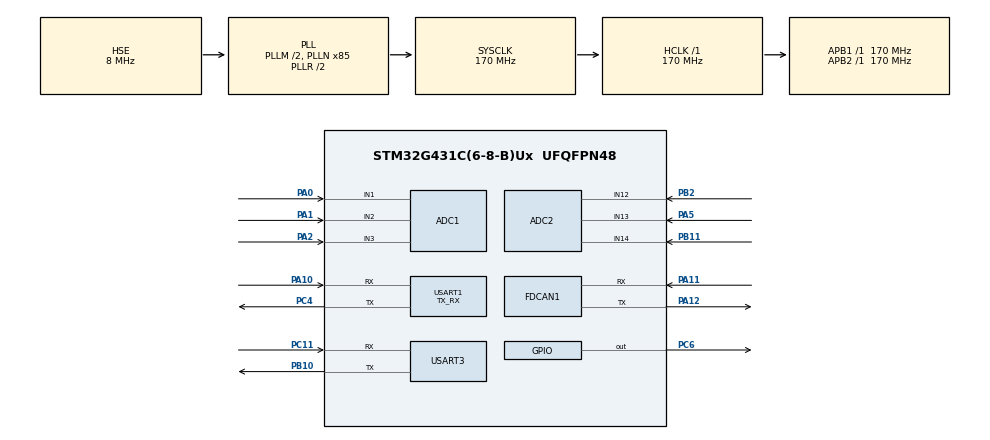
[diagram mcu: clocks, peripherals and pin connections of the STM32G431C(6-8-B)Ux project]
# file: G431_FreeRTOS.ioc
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ADC1.Channel-0\#ChannelRegularConversion=ADC_CHANNEL_1
ADC1.Channel-1\#ChannelRegularConversion=ADC_CHANNEL_2
ADC1.Channel-2\#ChannelRegularConversion=ADC_CHANNEL_3
ADC1.ContinuousConvMode=ENABLE
ADC1.DMAContinuousRequests=ENABLE
ADC1.EOCSelection=ADC_EOC_SINGLE_CONV
ADC1.NbrOfConversion=3
ADC1.NbrOfConversionFlag=1
ADC1.OffsetNumber-0\#ChannelRegularConversion=ADC_OFFSET_NONE
ADC1.OffsetNumber-1\#ChannelRegularConversion=ADC_OFFSET_NONE
ADC1.OffsetNumber-2\#ChannelRegularConversion=ADC_OFFSET_NONE
ADC1.Rank-0\#ChannelRegularConversion=1
ADC1.Rank-1\#ChannelRegularConversion=2
ADC1.Rank-2\#ChannelRegularConversion=3
ADC1.SamplingTime-0\#ChannelRegularConversion=ADC_SAMPLETIME_24CYCLES_5
ADC1.SamplingTime-1\#ChannelRegularConversion=ADC_SAMPLETIME_24CYCLES_5
ADC1.SamplingTime-2\#ChannelRegularConversion=ADC_SAMPLETIME_24CYCLES_5
ADC1.master=1
ADC2.Channel-0\#ChannelRegularConversion=ADC_CHANNEL_12
ADC2.Channel-1\#ChannelRegularConversion=ADC_CHANNEL_13
ADC2.Channel-2\#ChannelRegularConversion=ADC_CHANNEL_14
ADC2.ContinuousConvMode=ENABLE
ADC2.DMAContinuousRequests=ENABLE
ADC2.NbrOfConversion=3
ADC2.NbrOfConversionFlag=1
ADC2.OffsetNumber-0\#ChannelRegularConversion=ADC_OFFSET_NONE
ADC2.OffsetNumber-1\#ChannelRegularConversion=ADC_OFFSET_NONE
ADC2.OffsetNumber-2\#ChannelRegularConversion=ADC_OFFSET_NONE
ADC2.Rank-0\#ChannelRegularConversion=1
ADC2.Rank-1\#ChannelRegularConversion=2
ADC2.Rank-2\#ChannelRegularConversion=3
ADC2.SamplingTime-0\#ChannelRegularConversion=ADC_SAMPLETIME_24CYCLES_5
ADC2.SamplingTime-1\#ChannelRegularConversion=ADC_SAMPLETIME_24CYCLES_5
ADC2.SamplingTime-2\#ChannelRegularConversion=ADC_SAMPLETIME_24CYCLES_5
Dma.ADC1.0.Direction=DMA_PERIPH_TO_MEMORY
Dma.ADC1.0.EventEnable=DISABLE
Dma.ADC1.0.Instance=DMA1_Channel1
Dma.ADC1.0.MemDataAlignment=DMA_MDATAALIGN_HALFWORD
Dma.ADC1.0.MemInc=DMA_MINC_ENABLE
Dma.ADC1.0.Mode=DMA_CIRCULAR
Dma.ADC1.0.PeriphDataAlignment=DMA_PDATAALIGN_HALFWORD
Dma.ADC1.0.PeriphInc=DMA_PINC_DISABLE
Dma.ADC1.0.Polarity=HAL_DMAMUX_REQ_GEN_RISING
Dma.ADC1.0.Priority=DMA_PRIORITY_LOW
Dma.ADC1.0.RequestNumber=1
Dma.ADC1.0.SignalID=NONE
Dma.ADC1.0.SyncEnable=DISABLE
Dma.ADC1.0.SyncPolarity=HAL_DMAMUX_SYNC_NO_EVENT
Dma.ADC1.0.SyncRequestNumber=1
Dma.ADC1.0.SyncSignalID=NONE
Dma.ADC2.1.Direction=DMA_PERIPH_TO_MEMORY
Dma.ADC2.1.EventEnable=DISABLE
Dma.ADC2.1.Instance=DMA1_Channel2
Dma.ADC2.1.MemDataAlignment=DMA_MDATAALIGN_HALFWORD
Dma.ADC2.1.MemInc=DMA_MINC_ENABLE
Dma.ADC2.1.Mode=DMA_CIRCULAR
Dma.ADC2.1.PeriphDataAlignment=DMA_PDATAALIGN_HALFWORD
Dma.ADC2.1.PeriphInc=DMA_PINC_DISABLE
Dma.ADC2.1.Polarity=HAL_DMAMUX_REQ_GEN_RISING
Dma.ADC2.1.Priority=DMA_PRIORITY_LOW
Dma.ADC2.1.RequestNumber=1
Dma.ADC2.1.SignalID=NONE
Dma.ADC2.1.SyncEnable=DISABLE
Dma.ADC2.1.SyncPolarity=HAL_DMAMUX_SYNC_NO_EVENT
Dma.ADC2.1.SyncRequestNumber=1
Dma.ADC2.1.SyncSignalID=NONE
Dma.Request0=ADC1
Dma.Request1=ADC2
FDCAN1.CalculateBaudRateNominal=1000000
FDCAN1.CalculateTimeBitNominal=1000
FDCAN1.CalculateTimeQuantumNominal=125.0
FDCAN1.DataSyncJumpWidth=1
FDCAN1.DataTimeSeg1=8
FDCAN1.DataTimeSeg2=3
FDCAN1.NominalPrescaler=1
FDCAN1.NominalSyncJumpWidth=1
FDCAN1.NominalTimeSeg1=6
FDCAN1.NominalTimeSeg2=1
FREERTOS.Tasks01=BlueLED_Task,12,128,Start_BlueLED_Task,Default,NULL,Dynamic,NULL,NULL;Serial_Task,28,256,Start_Serial_Task,Default,NULL,Dynamic,NULL,NULL;MotorCTRL_Task,29,256,StartMotorCTRL_Task,Default,NULL,Dynamic,NULL,NULL
FREERTOS.configTOTAL_HEAP_SIZE=4064
Mcu.Family=STM32G4
Mcu.Name=STM32G431C(6-8-B)Ux
Mcu.Package=UFQFPN48
NVIC.DMA1_Channel1_IRQn=true\:5\:0\:false\:false\:true\:false\:false\:true\:true
NVIC.DMA1_Channel2_IRQn=true\:5\:0\:false\:false\:true\:false\:false\:true\:true
NVIC.FDCAN1_IT0_IRQn=true\:5\:0\:false\:false\:true\:true\:true\:true\:true
NVIC.PriorityGroup=NVIC_PRIORITYGROUP_4
NVIC.USART3_IRQn=true\:5\:0\:false\:false\:true\:true\:true\:true\:true
PA0.Mode=IN1-Single-Ended
PA0.Signal=ADC1_IN1
PA1.Mode=IN2-Single-Ended
PA1.Signal=ADC1_IN2
PA10.Mode=Asynchronous
PA10.Signal=USART1_RX
PA11.Mode=FDCAN_Activate
PA11.Signal=FDCAN1_RX
PA12.Mode=FDCAN_Activate
PA12.Signal=FDCAN1_TX
PA13.Mode=Serial_Wire
PA13.Signal=SYS_JTMS-SWDIO
PA14.Mode=Serial_Wire
PA14.Signal=SYS_JTCK-SWCLK
PA2.Mode=IN3-Single-Ended
PA2.Signal=ADC1_IN3
PA5.Mode=IN13-Single-Ended
PA5.Signal=ADC2_IN13
PB10.Mode=Asynchronous
PB10.Signal=USART3_TX
PB11.Mode=IN14-Single-Ended
PB11.Signal=ADC2_IN14
PB2.Mode=IN12-Single-Ended
PB2.Signal=ADC2_IN12
PC11.Mode=Asynchronous
PC11.Signal=USART3_RX
PC14-OSC32_IN.Mode=LSE-External-Oscillator
PC14-OSC32_IN.Signal=RCC_OSC32_IN
PC15-OSC32_OUT.Mode=LSE-External-Oscillator
PC15-OSC32_OUT.Signal=RCC_OSC32_OUT
PC4.Mode=Asynchronous
PC4.Signal=USART1_TX
PC6.GPIO_PuPd=GPIO_PULLDOWN
PC6.PinState=GPIO_PIN_SET
PC6.Signal=GPIO_Output
PF0-OSC_IN.Mode=HSE-External-Oscillator
PF0-OSC_IN.Signal=RCC_OSC_IN
PF1-OSC_OUT.Mode=HSE-External-Oscillator
PF1-OSC_OUT.Signal=RCC_OSC_OUT
ProjectManager.HeapSize=0x200
ProjectManager.StackSize=0x400
ProjectManager.TargetToolchain=MDK-ARM V5.32
RCC.ADC12Freq_Value=170000000
RCC.AHBFreq_Value=170000000
RCC.APB1Freq_Value=170000000
RCC.APB1TimFreq_Value=170000000
RCC.APB2Freq_Value=170000000
RCC.APB2TimFreq_Value=170000000
RCC.CortexFreq_Value=170000000
RCC.EXTERNAL_CLOCK_VALUE=12288000
RCC.FDCANCLockSelection=RCC_FDCANCLKSOURCE_HSE
RCC.HCLKFreq_Value=170000000
RCC.HSE_VALUE=8000000
RCC.HSI48_VALUE=48000000
RCC.HSI_VALUE=16000000
RCC.PLLM=RCC_PLLM_DIV2
RCC.PLLN=85
RCC.PLLSourceVirtual=RCC_PLLSOURCE_HSE
RCC.SYSCLKFreq_VALUE=170000000
RCC.SYSCLKSource=RCC_SYSCLKSOURCE_PLLCLK
RCC.USBFreq_Value=170000000
RCC.VCOOutputFreq_Value=340000000
USART1.Mode=MODE_TX_RX
USART1.VirtualMode-Asynchronous=VM_ASYNC
USART3.VirtualMode-Asynchronous=VM_ASYNC
VP_FREERTOS_VS_CMSIS_V2.Mode=CMSIS_V2
VP_SYS_VS_DBSignals.Mode=DisableDeadBatterySignals
board=custom

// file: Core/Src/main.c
/* USER CODE BEGIN Header */
/**
  ******************************************************************************
  * @file           : main.c
  * @brief          : Main program body
  ******************************************************************************
  * @attention
  *
  * Copyright (c) 2025 STMicroelectronics.
  * All rights reserved.
  *
  * This software is licensed under terms that can be found in the LICENSE file
  * in the root directory of this software component.
  * If no LICENSE file comes with this software, it is provided AS-IS.
  *
  ******************************************************************************
  */
/* USER CODE END Header */
#include "main.h"
#include "cmsis_os.h"
#include "adc.h"
#include "dma.h"
#include "fdcan.h"
#include "usart.h"
#include "gpio.h"

/* USER CODE BEGIN Includes */
#include "stdio.h"

/* USER CODE END Includes */

void SystemClock_Config(void);
void MX_FREERTOS_Init(void);

/* USER CODE BEGIN 0 */
int fputc(int c,FILE *f)
{
    uint8_t ch;
    ch = c;
    HAL_UART_Transmit(&huart1,&ch,1,1000);

    return c;
}

/* USER CODE END 0 */

int main(void)
{

  /* MCU Configuration--------------------------------------------------------*/

  /* Reset of all peripherals, Initializes the Flash interface and the Systick. */
  HAL_Init();

  /* Configure the system clock */
  SystemClock_Config();

  /* Initialize all configured peripherals */
  MX_GPIO_Init();
  MX_DMA_Init();
  MX_USART1_UART_Init();
  MX_ADC1_Init();
  MX_ADC2_Init();
  MX_FDCAN1_Init();
  MX_USART3_UART_Init();
  /* USER CODE BEGIN 2 */
	printf("BEGIN\r\n");
  /* USER CODE END 2 */

  /* Init scheduler */
  osKernelInitialize();

  /* Call init function for freertos objects (in cmsis_os2.c) */
  MX_FREERTOS_Init();

  /* Start scheduler */
  osKernelStart();

  /* We should never get here as control is now taken by the scheduler */

  /* Infinite loop */
  while (1)
  {

  }
}

void SystemClock_Config(void)
{
  RCC_OscInitTypeDef RCC_OscInitStruct = {0};
  RCC_ClkInitTypeDef RCC_ClkInitStruct = {0};

  /** Configure the main internal regulator output voltage
  */
  HAL_PWREx_ControlVoltageScaling(PWR_REGULATOR_VOLTAGE_SCALE1_BOOST);

  /** Initializes the RCC Oscillators according to the specified parameters
  * in the RCC_OscInitTypeDef structure.
  */
  RCC_OscInitStruct.OscillatorType = RCC_OSCILLATORTYPE_HSE;
  RCC_OscInitStruct.HSEState = RCC_HSE_ON;
  RCC_OscInitStruct.PLL.PLLState = RCC_PLL_ON;
  RCC_OscInitStruct.PLL.PLLSource = RCC_PLLSOURCE_HSE;
  RCC_OscInitStruct.PLL.PLLM = RCC_PLLM_DIV2;
  RCC_OscInitStruct.PLL.PLLN = 85;
  RCC_OscInitStruct.PLL.PLLP = RCC_PLLP_DIV2;
  RCC_OscInitStruct.PLL.PLLQ = RCC_PLLQ_DIV2;
  RCC_OscInitStruct.PLL.PLLR = RCC_PLLR_DIV2;
  if (HAL_RCC_OscConfig(&RCC_OscInitStruct) != HAL_OK)
  {
    Error_Handler();
  }

  /** Initializes the CPU, AHB and APB buses clocks
  */
  RCC_ClkInitStruct.ClockType = RCC_CLOCKTYPE_HCLK|RCC_CLOCKTYPE_SYSCLK
                              |RCC_CLOCKTYPE_PCLK1|RCC_CLOCKTYPE_PCLK2;
  RCC_ClkInitStruct.SYSCLKSource = RCC_SYSCLKSOURCE_PLLCLK;
  RCC_ClkInitStruct.AHBCLKDivider = RCC_SYSCLK_DIV1;
  RCC_ClkInitStruct.APB1CLKDivider = RCC_HCLK_DIV1;
  RCC_ClkInitStruct.APB2CLKDivider = RCC_HCLK_DIV1;

  if (HAL_RCC_ClockConfig(&RCC_ClkInitStruct, FLASH_LATENCY_4) != HAL_OK)
  {
    Error_Handler();
  }
}

void Error_Handler(void)
{
  __disable_irq();
  while (1)
  {
  }
}

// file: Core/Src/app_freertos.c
/* USER CODE BEGIN Header */
/**
  ******************************************************************************
  * File Name          : app_freertos.c
  * Description        : Code for freertos applications
  ******************************************************************************
  * @attention
  *
  * Copyright (c) 2025 STMicroelectronics.
  * All rights reserved.
  *
  * This software is licensed under terms that can be found in the LICENSE file
  * in the root directory of this software component.
  * If no LICENSE file comes with this software, it is provided AS-IS.
  *
  ******************************************************************************
  */
/* USER CODE END Header */

#include "FreeRTOS.h"
#include "task.h"
#include "main.h"
#include "cmsis_os.h"

/* USER CODE BEGIN Includes */
#include "adc_user.h"
#include "adc_filter.h"
#include "can_user.h"
#include "arm_ctrl.h"
#include <string.h>
#include <math.h>

/* USER CODE END Includes */

/* Definitions for BlueLED_Task */
osThreadId_t BlueLED_TaskHandle;
const osThreadAttr_t BlueLED_Task_attributes = {
  .name = "BlueLED_Task",
  .priority = (osPriority_t) osPriorityLow4,
  .stack_size = 128 * 4
};
/* Definitions for Serial_Task */
osThreadId_t Serial_TaskHandle;
const osThreadAttr_t Serial_Task_attributes = {
  .name = "Serial_Task",
  .priority = (osPriority_t) osPriorityNormal4,
  .stack_size = 256 * 4
};
/* Definitions for MotorCTRL_Task */
osThreadId_t MotorCTRL_TaskHandle;
const osThreadAttr_t MotorCTRL_Task_attributes = {
  .name = "MotorCTRL_Task",
  .priority = (osPriority_t) osPriorityNormal5,
  .stack_size = 256 * 4
};

void Start_BlueLED_Task(void *argument);
void Start_Serial_Task(void *argument);
void StartMotorCTRL_Task(void *argument);

void MX_FREERTOS_Init(void); /* (MISRA C 2004 rule 8.1) */

void MX_FREERTOS_Init(void) {

  /* Create the thread(s) */
  /* creation of BlueLED_Task */
  BlueLED_TaskHandle = osThreadNew(Start_BlueLED_Task, NULL, &BlueLED_Task_attributes);

  /* creation of Serial_Task */
  Serial_TaskHandle = osThreadNew(Start_Serial_Task, NULL, &Serial_Task_attributes);

  /* creation of MotorCTRL_Task */
  MotorCTRL_TaskHandle = osThreadNew(StartMotorCTRL_Task, NULL, &MotorCTRL_Task_attributes);

}

void Start_BlueLED_Task(void *argument)
{
  /* USER CODE BEGIN Start_BlueLED_Task */

	uint8_t id;
	static uint16_t motor_error_count[ARM_MOTOR_ID_MAX + 1U] = {0};
  /* Infinite loop */
  for(;;)
  {
	  for (id = ARM_MOTOR_ID_MIN; id <= ARM_MOTOR_ID_MAX; id++)
	  {
		  uint8_t has_error = arm_motor_has_error(id);

		  if (has_error)
		  {
			  if (motor_error_count[id] < 100)
			  {
				  motor_error_count[id]++;
			  }

			  if (motor_error_count[id] >= 10U)
			  {
				  arm_motor_clear_error(id);
					FDCAN_DM_cmd_STATE(id, 1);
				  motor_error_count[id]++;
			  }
		  }
		  else
		  {
			  motor_error_count[id] = 0U;
		  }
	  }

	  HAL_GPIO_TogglePin(GPIOC,GPIO_PIN_6);
    osDelay(250);
  }
	osDelay(5);

  /* USER CODE END Start_BlueLED_Task */
}

void Start_Serial_Task(void *argument)
{
  /* USER CODE BEGIN Start_Serial_Task */
	extern UART_HandleTypeDef huart3;

	static uint8_t rx_buffer[30];     // 数据缓存，1个帧头，24个角度数据帧（6*4），5个按键控制帧

  /* Infinite loop */
  for(;;)
    {
			if(HAL_UART_Receive(&huart3,rx_buffer,sizeof(rx_buffer),20)==HAL_OK){
					if(rx_buffer[0]==0xBB){
								memcpy((void*)&angle_j1, &rx_buffer[1], 4);
                memcpy((void*)&angle_j2, &rx_buffer[5], 4);
                memcpy((void*)&angle_j3, &rx_buffer[9], 4);
                memcpy((void*)&angle_j4, &rx_buffer[13], 4);
                memcpy((void*)&angle_j5, &rx_buffer[17], 4);
                memcpy((void*)&angle_j6, &rx_buffer[21], 4);

								clamp_state = rx_buffer[25];
								ctrl_state = rx_buffer[26];
								ctrl_mode = rx_buffer[27];
								get_kuang_num = rx_buffer[28];
								catch_state = rx_buffer[29];

			   }
     }
			osDelay(2);
   }
  /* USER CODE END Start_Serial_Task */
}

void StartMotorCTRL_Task(void *argument)
{
		static uint8_t last_ctrl_state = disable_ctrl_state;
		static uint8_t last_ctrl_mode = follow_ctrl_mode;
		static uint8_t hold_target_valid = 0;
		static uint8_t get_state = 0;

		static float hold_angle_j1 = 0.0f;
		static float hold_angle_j2 = 0.0f;
		static float hold_angle_j3 = 0.0f;
		static float hold_angle_j4 = 0.0f;
		static float hold_angle_j5 = 0.0f;
    static float hold_angle_j6 = 0.0f;

		static float auto_first_begin_j2 = -1.37f;
		static float auto_first_begin_j3 = -1.70f;
		static float auto_first_end_j2 = -0.80f;
    static float auto_first_end_j3 = -1.15f;

		static uint8_t adjust_kuang = 0;

		FDCAN_Filter_Init();
    osDelay(800);

		/* Infinite loop */
		for(;;)
    {
        // Enable and Disable Ctrl------------------------------------
        if (ctrl_state != last_ctrl_state)
        {
            if (ctrl_state == normal_ctrl_state)
            {
							for(int n=0; n <2; n++)  // send enable twice
							{
									for(int i = 1; i <= 7; i++)
									{
											FDCAN_DM_cmd_STATE(i, 1);
											osDelay(5);
									}
							}
            }
            else if (ctrl_state == disable_ctrl_state)
            {
							for(int n=0; n <2; n++)  // send disenable twice
							{
                for(int i = 1; i <= 7; i++) {
                    FDCAN_DM_cmd_STATE(i, 0);
                    osDelay(5);
                }
							}
            }
            last_ctrl_state = ctrl_state;
        }

				// 夹爪控制---------------------------------------------------------
						if (clamp_state == 0x01){
							FDCAN_DM_MIT_cmd_arm(0x07, -2.3f,0, 8,0.8f, 0);
							osDelay(1);
						}	else{
							FDCAN_DM_MIT_cmd_arm(0x07, 0.0, 0,8,0.8f, 0);
							osDelay(1);
						}

        // Arm ctrl Ros mode -----------------------------------------------------

					if(ctrl_mode == follow_ctrl_mode) // follow mode = 0
					{
            hold_target_valid = 0;
            if(angle_j1 != 0)
							{
								FDCAN_DM_MIT_cmd_arm(0x01, angle_j1 / 57.3f, 0,55,1.2f, 0);
								osDelay(1);
								FDCAN_DM_MIT_cmd_arm(0x02, (motor_pos_limit(2, angle_j2)) / 57.3f, 0,40,1.2f, 0);
								osDelay(1);
                FDCAN_DM_POS_cmd_arm(0x03, (motor_pos_limit(3, angle_j3)) / 57.3f, 1.5);
                osDelay(1);
                FDCAN_DM_POS_cmd_arm(0x04, angle_j4 / 57.3f, 1.5);
                osDelay(1);
                FDCAN_DM_POS_cmd_arm(0x05, angle_j5 / 57.3f, 1.5);
                osDelay(1);
                FDCAN_DM_POS_cmd_arm(0x06, angle_j6 / 57.3f, 3);
                osDelay(1);
							}
						}
					else if(ctrl_mode == hold_ctrl_mode){   // hold mode = 1
						// 记录角度
            if((last_ctrl_mode != hold_ctrl_mode) && (angle_j1 != 0))
            {
                hold_angle_j1 = angle_j1;
                hold_angle_j2 = motor_pos_limit(2, angle_j2);
                hold_angle_j3 = motor_pos_limit(3, angle_j3);
                hold_angle_j4 = angle_j4;
                hold_angle_j5 = angle_j5;
								hold_angle_j6 = angle_j6;
								hold_target_valid = 1;
								adjust_kuang = 0;
						}

							if(get_kuang_num == 0x00 )  // 保持
            {
								FDCAN_DM_MIT_cmd_arm(0x01, hold_angle_j1 / 57.3f, 0,55,1.2f, 0);
								osDelay(1);
								FDCAN_DM_MIT_cmd_arm(0x02,hold_angle_j2/ 57.3f, 0,40,1.2f, 0);
								osDelay(1);

                FDCAN_DM_POS_cmd_arm(0x03, hold_angle_j3 / 57.3f, 2);
                osDelay(1);
                FDCAN_DM_POS_cmd_arm(0x04, hold_angle_j4 / 57.3f, 2);
                osDelay(1);
                FDCAN_DM_POS_cmd_arm(0x05, hold_angle_j5 / 57.3f, 2);
                osDelay(1);
								FDCAN_DM_POS_cmd_arm(0x06, hold_angle_j6 / 57.3f, 2);
                osDelay(1);
            }
						else if(get_kuang_num == 0x01)  //取一号矿
						{
							if(catch_state == 0x00)
							{
									auto_first_begin_j2 = -1.37f;
									auto_first_begin_j3 = -1.70f;

									FDCAN_DM_MIT_cmd_arm(0x01, 0.0f, 0, 55, 1.2f, 0);
									osDelay(1);
									FDCAN_DM_MIT_cmd_arm(0x02, auto_first_begin_j2, 0, 40, 1.2f, 0.5);
									osDelay(1);
									FDCAN_DM_POS_cmd_arm(0x03, auto_first_begin_j3, 2);
									osDelay(1);
									FDCAN_DM_POS_cmd_arm(0x04, 0.0f, 2);
									osDelay(1);
									FDCAN_DM_POS_cmd_arm(0x05, 0.0f, 2);
									osDelay(1);
									FDCAN_DM_POS_cmd_arm(0x06, 0.0f, 2);
									osDelay(1);
									}
									else if(catch_state == 0x01)
									{
											osDelay(800);
										auto_first_begin_j2 = angle_change_smooth(auto_first_begin_j2,auto_first_end_j2,0.05f);
										auto_first_begin_j3 = angle_change_smooth(auto_first_begin_j3,auto_first_end_j3,0.05f);

										FDCAN_DM_MIT_cmd_arm(0x01, 0.0f, 0, 55, 1.2f, 0);
										osDelay(1);
										FDCAN_DM_MIT_cmd_arm(0x02, auto_first_begin_j2, 0, 40, 1.2f, 0);
										osDelay(1);
										FDCAN_DM_POS_cmd_arm(0x03, auto_first_begin_j3, 4);
										osDelay(1);
										FDCAN_DM_POS_cmd_arm(0x04, 0.0f, 2);
										osDelay(1);
										FDCAN_DM_POS_cmd_arm(0x05, 0.0f, 2);
										osDelay(1);
										FDCAN_DM_POS_cmd_arm(0x06, 0.0f, 2);
										osDelay(1);
									}
							}
						else if(get_kuang_num == 0x11)  //兑换一号矿-全固定
						{
									FDCAN_DM_MIT_cmd_arm(0x01, 0.0f, 0, 55, 1.2f, 0);
									osDelay(1);
									FDCAN_DM_MIT_cmd_arm(0x02, -1.23f, 0, 40, 1.2f, 0.5);
									osDelay(1);
									FDCAN_DM_POS_cmd_arm(0x03, -1.1f, 2);
									osDelay(1);
									FDCAN_DM_POS_cmd_arm(0x04, 2.0f, 2);
									osDelay(1);
									FDCAN_DM_POS_cmd_arm(0x05, 0.0f, 2);
									osDelay(1);
									FDCAN_DM_POS_cmd_arm(0x06, 0.0f, 2);
									osDelay(1);
						}else if(get_kuang_num == 0x66) // 兑换1号矿，两自由度可调
							{
									FDCAN_DM_MIT_cmd_arm(0x01, 0.0f, 0, 55, 1.2f, 0);
									osDelay(1);
									FDCAN_DM_MIT_cmd_arm(0x02, (motor_pos_limit(2, angle_j2)) / 57.3f, 0, 40, 1.2f, 0.5);
									osDelay(1);
									FDCAN_DM_POS_cmd_arm(0x03, -1.1f, 2);
									osDelay(1);
									FDCAN_DM_POS_cmd_arm(0x04, (motor_pos_limit(44, angle_j4)) / 57.3f , 2);
									osDelay(1);
									FDCAN_DM_POS_cmd_arm(0x05, 0.0f, 2);
									osDelay(1);
									FDCAN_DM_POS_cmd_arm(0x06, 0.0f, 2);
									osDelay(1);
							}
						else if(get_kuang_num == 0x02)  //夹爪调整
								{
									FDCAN_DM_MIT_cmd_arm(0x01, 0.0f, 0, 55, 1.2f, 0);
									osDelay(1);
									FDCAN_DM_MIT_cmd_arm(0x02, -1.37, 0, 40, 1.2f, 0.5);
									osDelay(1);
									FDCAN_DM_POS_cmd_arm(0x03, -1.70, 2);
									osDelay(1);
									FDCAN_DM_POS_cmd_arm(0x04, 0.6f, 2);
									osDelay(1);
									FDCAN_DM_POS_cmd_arm(0x05, 0.0f, 2);
									osDelay(1);
									FDCAN_DM_POS_cmd_arm(0x06, 0.0f, 2);
									osDelay(1);
									if(adjust_kuang == 0){
									  osDelay(2000);
										FDCAN_DM_MIT_cmd_arm(0x07, -1.53, 0,10,0.8f, 0);
										osDelay(2000);
										FDCAN_DM_MIT_cmd_arm(0x07, -2.3, 0,10,0.8f, 0);
										osDelay(1);
										adjust_kuang =  1;
									}
								}
							 }

					last_ctrl_mode = ctrl_mode;
					osDelay(5); // 任务控制频率
    }

  /* USER CODE END StartMotorCTRL_Task */
}
